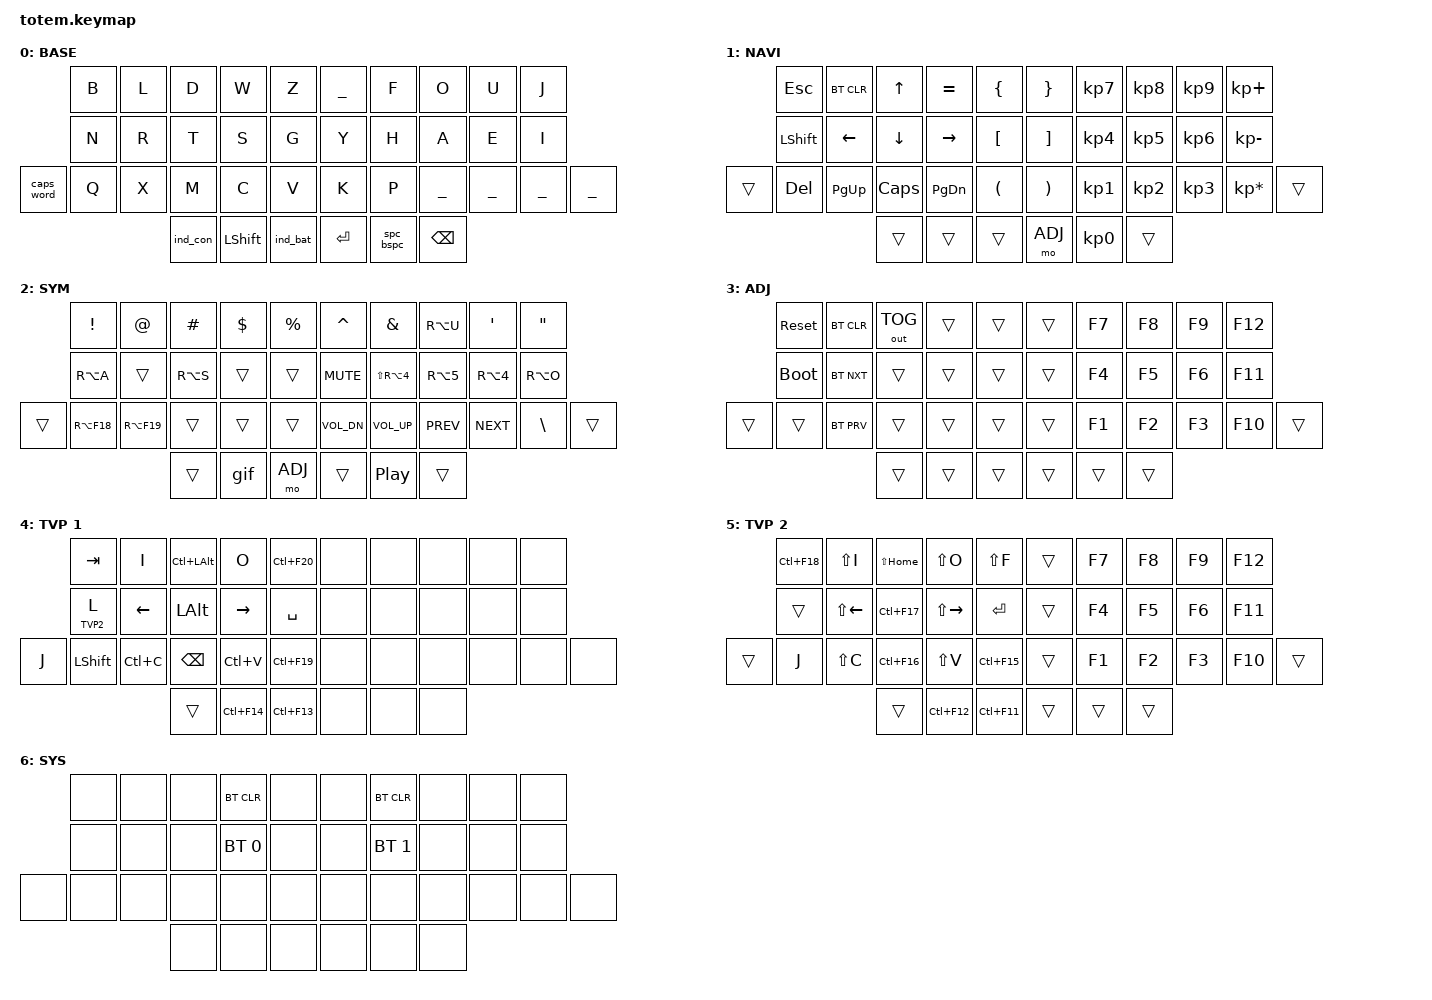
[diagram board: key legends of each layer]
//
//                                                        ▀▀▀▀▀     ▀▀▀▀▀          ▀▀█▀▀
//                                                        ▄▀▀▀▄  ▄  ▄▀▀▀▄  ▄  ▄▀▀▀▄  █  ▄▀▀▀▄
//                                                        █   █  █  █   █  █  █   █  █  █   █
//                                                         ▀▀▀   █   ▀▀▀   █   ▀▀▀   ▀   ▀▀▀
//                                                               █      ▄▄▄█▄▄▄    █   █  
//                                                               ▀      █  █  █     █▄█
//                                                             ▀▀▀▀▀    █  █  █      ▀
//                                                                      ▀  ▀  ▀
//
// ▄▄▄▄▄▄▄▄▄▄▄▄▄▄▄▄▄▄▄▄▄▄▄▄▄▄▄▄▄▄▄▄▄▄▄▄▄▄▄▄▄▄▄▄▄▄▄▄▄▄▄▄▄▄▄▄▄▄▄▄▄▄▄▄▄▄▄▄▄▄▄▄▄▄▄▄▄▄▄▄▄▄▄▄▄▄▄▄▄▄▄▄▄▄▄▄▄▄▄▄▄▄▄▄▄▄▄▄▄▄▄▄▄▄▄▄▄▄▄▄▄▄▄▄▄▄▄▄▄▄▄▄▄▄▄▄▄▄▄▄▄▄▄▄▄▄▄▄▄
       

#include <behaviors.dtsi>
#include <dt-bindings/zmk/keys.h>
#include <dt-bindings/zmk/bt.h>
#include <dt-bindings/zmk/outputs.h>
#include <behaviors/rgbled_widget.dtsi>

#define BASE 0
#define NAV  1
#define SYM  2
#define ADJ  3
#define TVP1 4
#define TVP2 5
#define SYS  6

&mt {
  quick-tap-ms = <100>;
  global-quick-tap;
  flavor = "tap-preferred";
  tapping-term-ms = <170>;
};

&sl {
  release-after-ms = <5000>;
};

/ {
     combos {
            compatible = "zmk,combos";
            combo_esc {
                timeout-ms = <50>;
                key-positions = <0 1>;
                bindings = <&kp ESC>;
            };
            combo_tvp {
                timeout-ms = <100>;
                key-positions = <11 12 13>;
                bindings = <&tog TVP1>;
            };
	    combo_system {
                timeout-ms = <200>;
                key-positions = <20 31>;
                bindings = <&sl SYS>;
	    };
    };

    behaviors {
        // Defines custom behavior: Space normally, Backspace when Shifted
        spc_bspc: space_backspace {
            compatible = "zmk,behavior-mod-morph";
            #binding-cells = <0>;
            bindings = <&kp SPACE>, <&kp BSPC>;
            mods = <(MOD_LSFT|MOD_RSFT)>;
        };
    };

    macros {
        gif: gif {
            label = "giphy";
            compatible = "zmk,behavior-macro";
            #binding-cells = <0>;
            bindings
                = <&macro_press &kp LSHFT>
                , <&macro_tap &kp N2>
                , <&macro_release &kp LSHFT>
                , <&macro_tap &kp G &kp I &kp F>
                ;
        };
    };

        keymap {
                compatible = "zmk,keymap";
// ▄▄▄▄▄▄▄▄▄▄▄▄▄▄▄▄▄▄▄▄▄▄▄▄▄▄▄▄▄▄▄▄▄▄▄▄▄▄▄▄▄▄▄▄▄▄▄▄▄▄▄▄▄▄▄▄▄▄▄▄▄▄▄▄▄▄▄▄▄▄▄▄▄▄▄▄▄▄▄▄▄▄▄▄▄▄▄▄▄▄▄▄▄▄▄▄▄▄▄▄▄▄▄▄▄▄▄▄▄▄▄▄▄▄▄▄▄▄▄▄▄▄▄▄▄▄▄▄▄▄▄▄▄▄▄▄▄▄▄▄▄▄▄▄▄▄▄▄▄

                base_layer {
// ┏━━━━━━━━━━━━━━━━━━━━━━━━━━━━━━━━━━━━━━━┓
label= "BASE"                              ;
// ┗━━━━━━━━━━━━━━━━━━━━━━━━━━━━━━━━━━━━━━━┛
//             ┏━━━━━━━━━━━┳━━━━━━━━━━━┳━━━━━━━━━━━┳━━━━━━━━━━━┳━━━━━━━━━━━┓   ┏━━━━━━━━━━━┳━━━━━━━━━━━┳━━━━━━━━━━━┳━━━━━━━━━━━┳━━━━━━━━━━━┓
//             ┃     B     ┃     L     ┃     D     ┃     W     ┃     Z     ┃   ┃     _     ┃     F     ┃     O     ┃     U     ┃     J     ┃
//             ┣━━━━━━━━━━━╋━━━━━━━━━━━╋━━━━━━━━━━━╋━━━━━━━━━━━╋━━━━━━━━━━━┫   ┣━━━━━━━━━━━╋━━━━━━━━━━━╋━━━━━━━━━━━╋━━━━━━━━━━━╋━━━━━━━━━━━┫
//             ┃     N     ┃     R     ┃     T     ┃     S     ┃     G     ┃   ┃     Y     ┃     H     ┃     A     ┃     E     ┃     I     ┃
// ┏━━━━━━━━━━━╋━━━━━━━━━━━╋━━━━━━━━━━━╋━━━━━━━━━━━╋━━━━━━━━━━━╋━━━━━━━━━━━┫   ┣━━━━━━━━━━━╋━━━━━━━━━━━╋━━━━━━━━━━━╋━━━━━━━━━━━╋━━━━━━━━━━━╋━━━━━━━━━━━┓
// ┃     _     ┃     Q     ┃     X     ┃     M     ┃     C     ┃     V     ┃   ┃     K     ┃     P     ┃     _     ┃     _     ┃     _     ┃     _     ┃
// ┗━━━━━━━━━━━┻━━━━━━━━━━━┻━━━━━━━━━━━╋━━━━━━━━━━━╋━━━━━━━━━━━╋━━━━━━━━━━━┫   ┣━━━━━━━━━━━╋━━━━━━━━━━━╋━━━━━━━━━━━╋━━━━━━━━━━━┻━━━━━━━━━━━┻━━━━━━━━━━━┛
//                                     ┃    NAV    ┃   SHIFT   ┃    TAB    ┃   ┃   ENTER   ┃    SPC    ┃   BSPC    ┃
//                                     ┗━━━━━━━━━━━┻━━━━━━━━━━━┻━━━━━━━━━━━┛   ┗━━━━━━━━━━━┻━━━━━━━━━━━┻━━━━━━━━━━━┛
 bindings = <
// ╷           ╷           ╷           ╷           ╷           ╷           ╷   ╷           ╷           ╷           ╷           ╷           ╷           ╷

                &kp B       &kp L       &kp D       &kp W       &kp Z           &kp UNDER   &kp F       &kp O       &kp U       &kp J
                &kp N       &kp R       &kp T       &kp S       &kp G           &kp Y       &kp H       &kp A       &kp E       &kp I
    &caps_word  &kp Q       &kp X       &kp M       &kp C       &kp V           &kp K       &kp P       &kp UNDER   &kp UNDER   &kp UNDER    &kp UNDER
                                        &ind_con     &kp LSHFT   &ind_bat         &kp RET     &spc_bspc   &kp BSPC
                        >;
                };

// ▄▄▄▄▄▄▄▄▄▄▄▄▄▄▄▄▄▄▄▄▄▄▄▄▄▄▄▄▄▄▄▄▄▄▄▄▄▄▄▄▄▄▄▄▄▄▄▄▄▄▄▄▄▄▄▄▄▄▄▄▄▄▄▄▄▄▄▄▄▄▄▄▄▄▄▄▄▄▄▄▄▄▄▄▄▄▄▄▄▄▄▄▄▄▄▄▄▄▄▄▄▄▄▄▄▄▄▄▄▄▄▄▄▄▄▄▄▄▄▄▄▄▄▄▄▄▄▄▄▄▄▄▄▄▄▄▄▄▄▄▄▄▄▄▄▄▄▄▄


                nav_layer {
// ┏━━━━━━━━━━━━━━━━━━━━━━━━━━━━━━━━━━━━━━━┓
label= "NAVI"                              ;
// ┗━━━━━━━━━━━━━━━━━━━━━━━━━━━━━━━━━━━━━━━┛
//             ┏━━━━━━━━━━━┳━━━━━━━━━━━┳━━━━━━━━━━━┳━━━━━━━━━━━┳━━━━━━━━━━━┓   ┏━━━━━━━━━━━┳━━━━━━━━━━━┳━━━━━━━━━━━┳━━━━━━━━━━━┳━━━━━━━━━━━┓
//             ┃           ┃           ┃     UP    ┃           ┃     {     ┃   ┃     }     ┃     7     ┃     8     ┃     9     ┃     +     ┃
//             ┣━━━━━━━━━━━╋━━━━━━━━━━━╋━━━━━━━━━━━╋━━━━━━━━━━━╋━━━━━━━━━━━┫   ┣━━━━━━━━━━━╋━━━━━━━━━━━╋━━━━━━━━━━━╋━━━━━━━━━━━╋━━━━━━━━━━━┫
//             ┃   SHIFT   ┃   LEFT    ┃    DOWN   ┃   RIGHT   ┃     [     ┃   ┃     ]     ┃     4     ┃     5     ┃     6     ┃     -     ┃
// ┏━━━━━━━━━━━╋━━━━━━━━━━━╋━━━━━━━━━━━╋━━━━━━━━━━━╋━━━━━━━━━━━╋━━━━━━━━━━━┫   ┣━━━━━━━━━━━╋━━━━━━━━━━━╋━━━━━━━━━━━╋━━━━━━━━━━━╋━━━━━━━━━━━╋━━━━━━━━━━━┓
// ┃           ┃           ┃   P UP    ┃  C LOCK   ┃  P DOWN   ┃     (     ┃   ┃     )     ┃     1     ┃     2     ┃     3     ┃     *     ┃           ┃
// ┗━━━━━━━━━━━┻━━━━━━━━━━━┻━━━━━━━━━━━╋━━━━━━━━━━━╋━━━━━━━━━━━╋━━━━━━━━━━━┫   ┣━━━━━━━━━━━╋━━━━━━━━━━━╋━━━━━━━━━━━╋━━━━━━━━━━━┻━━━━━━━━━━━┻━━━━━━━━━━━┛
//                                     ┃           ┃    TAB    ┃    SPC    ┃   ┃    DEL    ┃     0     ┃           ┃
//                                     ┗━━━━━━━━━━━┻━━━━━━━━━━━┻━━━━━━━━━━━┛   ┗━━━━━━━━━━━┻━━━━━━━━━━━┻━━━━━━━━━━━┛
 bindings = <
// ╷           ╷           ╷           ╷           ╷           ╷           ╷   ╷           ╷           ╷           ╷           ╷           ╷           ╷

                &kp ESC     &bt BT_CLR  &kp UP      &kp EQUAL   &kp LBRC        &kp RBRC    &kp KP_N7   &kp KP_N8   &kp KP_N9   &kp KP_PLUS
                &kp LSHFT   &kp LEFT    &kp DOWN    &kp RIGHT   &kp LBKT        &kp RBKT    &kp KP_N4   &kp KP_N5   &kp KP_N6   &kp KP_MINUS
    &trans      &kp DEL     &kp PG_UP   &kp CAPS    &kp PG_DN   &kp LPAR        &kp RPAR    &kp KP_N1   &kp KP_N2   &kp KP_N3   &kp KP_MULTIPLY &trans      
                                        &trans      &trans      &trans          &mo ADJ     &kp KP_N0   &trans      
                        >;
                };

// ▄▄▄▄▄▄▄▄▄▄▄▄▄▄▄▄▄▄▄▄▄▄▄▄▄▄▄▄▄▄▄▄▄▄▄▄▄▄▄▄▄▄▄▄▄▄▄▄▄▄▄▄▄▄▄▄▄▄▄▄▄▄▄▄▄▄▄▄▄▄▄▄▄▄▄▄▄▄▄▄▄▄▄▄▄▄▄▄▄▄▄▄▄▄▄▄▄▄▄▄▄▄▄▄▄▄▄▄▄▄▄▄▄▄▄▄▄▄▄▄▄▄▄▄▄▄▄▄▄▄▄▄▄▄▄▄▄▄▄▄▄▄▄▄▄▄▄▄▄


                sim_layer {
// ┏━━━━━━━━━━━━━━━━━━━━━━━━━━━━━━━━━━━━━━━┓
label= "SYM"                               ;
// ┗━━━━━━━━━━━━━━━━━━━━━━━━━━━━━━━━━━━━━━━┛
//             ┏━━━━━━━━━━━┳━━━━━━━━━━━┳━━━━━━━━━━━┳━━━━━━━━━━━┳━━━━━━━━━━━┓   ┏━━━━━━━━━━━┳━━━━━━━━━━━┳━━━━━━━━━━━┳━━━━━━━━━━━┳━━━━━━━━━━━┓
//             ┃     !     ┃     @     ┃     #     ┃     $     ┃     %     ┃   ┃     ˆ     ┃     &     ┃     Ü     ┃     '     ┃     "     ┃
//             ┣━━━━━━━━━━━╋━━━━━━━━━━━╋━━━━━━━━━━━╋━━━━━━━━━━━╋━━━━━━━━━━━┫   ┣━━━━━━━━━━━╋━━━━━━━━━━━╋━━━━━━━━━━━╋━━━━━━━━━━━╋━━━━━━━━━━━┫
//             ┃     Ä     ┃           ┃    SZ     ┃           ┃           ┃   ┃   MUTE    ┃   YEN     ┃   EURO    ┃  POUND    ┃     Ö     ┃
// ┏━━━━━━━━━━━╋━━━━━━━━━━━╋━━━━━━━━━━━╋━━━━━━━━━━━╋━━━━━━━━━━━╋━━━━━━━━━━━┫   ┣━━━━━━━━━━━╋━━━━━━━━━━━╋━━━━━━━━━━━╋━━━━━━━━━━━╋━━━━━━━━━━━╋━━━━━━━━━━━┓
// ┃           ┃  EMAIL1   ┃  EMAIL2   ┃           ┃           ┃           ┃   ┃   VOL-    ┃   VOL+    ┃   LAST    ┃   NEXT    ┃     \     ┃           ┃
// ┗━━━━━━━━━━━┻━━━━━━━━━━━┻━━━━━━━━━━━╋━━━━━━━━━━━╋━━━━━━━━━━━╋━━━━━━━━━━━┫   ┣━━━━━━━━━━━╋━━━━━━━━━━━╋━━━━━━━━━━━╋━━━━━━━━━━━┻━━━━━━━━━━━┻━━━━━━━━━━━┛
//                                     ┃           ┃    GIF    ┃    ADJ    ┃   ┃           ┃           ┃           ┃
//                                     ┗━━━━━━━━━━━┻━━━━━━━━━━━┻━━━━━━━━━━━┛   ┗━━━━━━━━━━━┻━━━━━━━━━━━┻━━━━━━━━━━━┛
 bindings = <
// ╷           ╷           ╷           ╷           ╷           ╷           ╷   ╷           ╷           ╷           ╷           ╷           ╷           ╷

                &kp EXCL    &kp AT      &kp HASH    &kp DLLR    &kp PRCNT       &kp CARET   &kp AMPS    &kp RA(U)   &kp SQT     &kp DQT       
                &kp RA(A)   &trans      &kp RA(S)   &trans      &trans          &kp C_MUTE  &kp LS(RA(N4)) &kp RA(N5) &kp RA(N4)   &kp RA(O) 
    &trans      &kp RA(F18) &kp RA(F19) &trans      &trans      &trans          &kp C_VOL_DN &kp C_VOL_UP &kp C_PREV &kp C_NEXT  &kp BSLH   &trans         
                                        &trans      &gif        &mo ADJ         &trans      &kp C_PP    &trans      
                        >;
                };

// ▄▄▄▄▄▄▄▄▄▄▄▄▄▄▄▄▄▄▄▄▄▄▄▄▄▄▄▄▄▄▄▄▄▄▄▄▄▄▄▄▄▄▄▄▄▄▄▄▄▄▄▄▄▄▄▄▄▄▄▄▄▄▄▄▄▄▄▄▄▄▄▄▄▄▄▄▄▄▄▄▄▄▄▄▄▄▄▄▄▄▄▄▄▄▄▄▄▄▄▄▄▄▄▄▄▄▄▄▄▄▄▄▄▄▄▄▄▄▄▄▄▄▄▄▄▄▄▄▄▄▄▄▄▄▄▄▄▄▄▄▄▄▄▄▄▄▄▄▄


                adjust_layer {
// ┏━━━━━━━━━━━━━━━━━━━━━━━━━━━━━━━━━━━━━━━┓
label= "ADJ"                               ;
// ┗━━━━━━━━━━━━━━━━━━━━━━━━━━━━━━━━━━━━━━━┛
//             ┏━━━━━━━━━━━┳━━━━━━━━━━━┳━━━━━━━━━━━┳━━━━━━━━━━━┳━━━━━━━━━━━┓   ┏━━━━━━━━━━━┳━━━━━━━━━━━┳━━━━━━━━━━━┳━━━━━━━━━━━┳━━━━━━━━━━━┓
//             ┃   RESET   ┃ BT CLEAR  ┃  OUT TOG  ┃           ┃           ┃   ┃           ┃    F7     ┃    F8     ┃    F9     ┃    F12    ┃
//             ┣━━━━━━━━━━━╋━━━━━━━━━━━╋━━━━━━━━━━━╋━━━━━━━━━━━╋━━━━━━━━━━━┫   ┣━━━━━━━━━━━╋━━━━━━━━━━━╋━━━━━━━━━━━╋━━━━━━━━━━━╋━━━━━━━━━━━┫
//             ┃ BOOTLOAD  ┃ BT NEXT   ┃           ┃           ┃           ┃   ┃           ┃    F4     ┃    F5     ┃    F6     ┃    F11    ┃
// ┏━━━━━━━━━━━╋━━━━━━━━━━━╋━━━━━━━━━━━╋━━━━━━━━━━━╋━━━━━━━━━━━╋━━━━━━━━━━━┫   ┣━━━━━━━━━━━╋━━━━━━━━━━━╋━━━━━━━━━━━╋━━━━━━━━━━━╋━━━━━━━━━━━╋━━━━━━━━━━━┓
// ┃           ┃           ┃ BT PREV   ┃           ┃           ┃           ┃   ┃           ┃    F1     ┃    F2     ┃    F3     ┃    F10    ┃           ┃
// ┗━━━━━━━━━━━┻━━━━━━━━━━━┻━━━━━━━━━━━╋━━━━━━━━━━━╋━━━━━━━━━━━╋━━━━━━━━━━━┫   ┣━━━━━━━━━━━╋━━━━━━━━━━━╋━━━━━━━━━━━╋━━━━━━━━━━━┻━━━━━━━━━━━┻━━━━━━━━━━━┛
//                                     ┃           ┃           ┃           ┃   ┃           ┃           ┃           ┃
//                                     ┗━━━━━━━━━━━┻━━━━━━━━━━━┻━━━━━━━━━━━┛   ┗━━━━━━━━━━━┻━━━━━━━━━━━┻━━━━━━━━━━━┛
 bindings = <
// ╷           ╷           ╷           ╷           ╷           ╷           ╷   ╷           ╷           ╷           ╷           ╷           ╷           ╷

                &sys_reset  &bt BT_CLR &out OUT_TOG &trans      &trans          &trans      &kp F7      &kp F8      &kp F9      &kp F12
                &bootloader &bt BT_NXT  &trans      &trans      &trans          &trans      &kp F4      &kp F5      &kp F6      &kp F11  
    &trans      &trans      &bt BT_PRV  &trans      &trans      &trans          &trans      &kp F1      &kp F2      &kp F3      &kp F10     &trans         
                                        &trans      &trans      &trans          &trans      &trans      &trans      
                        >;
                };

// ▄▄▄▄▄▄▄▄▄▄▄▄▄▄▄▄▄▄▄▄▄▄▄▄▄▄▄▄▄▄▄▄▄▄▄▄▄▄▄▄▄▄▄▄▄▄▄▄▄▄▄▄▄▄▄▄▄▄▄▄▄▄▄▄▄▄▄▄▄▄▄▄▄▄▄▄▄▄▄▄▄▄▄▄▄▄▄▄▄▄▄▄▄▄▄▄▄▄▄▄▄▄▄▄▄▄▄▄▄▄▄▄▄▄▄▄▄▄▄▄▄▄▄▄▄▄▄▄▄▄▄▄▄▄▄▄▄▄▄▄▄▄▄▄▄▄▄▄▄


                tvp1_layer {
// ┏━━━━━━━━━━━━━━━━━━━━━━━━━━━━━━━━━━━━━━━┓
label= "TVP 1"                             ;
// ┗━━━━━━━━━━━━━━━━━━━━━━━━━━━━━━━━━━━━━━━┛
//             ┏━━━━━━━━━━━┳━━━━━━━━━━━┳━━━━━━━━━━━┳━━━━━━━━━━━┳━━━━━━━━━━━┓   ┏━━━━━━━━━━━┳━━━━━━━━━━━┳━━━━━━━━━━━┳━━━━━━━━━━━┳━━━━━━━━━━━┓
//             ┃ NEXT FILE ┃ MARK IN   ┃ ROTATE    ┃ MARK OUT  ┃ SHOW SNAP ┃   ┃           ┃           ┃           ┃           ┃           ┃
//             ┣━━━━━━━━━━━╋━━━━━━━━━━━╋━━━━━━━━━━━╋━━━━━━━━━━━╋━━━━━━━━━━━┫   ┣━━━━━━━━━━━╋━━━━━━━━━━━╋━━━━━━━━━━━╋━━━━━━━━━━━╋━━━━━━━━━━━┫
//             ┃ TVP II    ┃ LEFT      ┃ PAN       ┃ RIGHT     ┃ PLAY/FLIP ┃   ┃           ┃           ┃           ┃           ┃           ┃
// ┏━━━━━━━━━━━╋━━━━━━━━━━━╋━━━━━━━━━━━╋━━━━━━━━━━━╋━━━━━━━━━━━╋━━━━━━━━━━━┫   ┣━━━━━━━━━━━╋━━━━━━━━━━━╋━━━━━━━━━━━╋━━━━━━━━━━━╋━━━━━━━━━━━╋━━━━━━━━━━━┓
// ┃ FULLSCR   ┃ SHIFT     ┃ COPY      ┃ DELETE    ┃ PASTE     ┃ IMG MARK  ┃   ┃           ┃           ┃           ┃           ┃           ┃           ┃
// ┗━━━━━━━━━━━┻━━━━━━━━━━━┻━━━━━━━━━━━╋━━━━━━━━━━━╋━━━━━━━━━━━╋━━━━━━━━━━━┫   ┣━━━━━━━━━━━╋━━━━━━━━━━━╋━━━━━━━━━━━╋━━━━━━━━━━━┻━━━━━━━━━━━┻━━━━━━━━━━━┛
//                                     ┃           ┃ UNDO/SAVE ┃  SEL/MOV  ┃   ┃           ┃           ┃           ┃
//                                     ┗━━━━━━━━━━━┻━━━━━━━━━━━┻━━━━━━━━━━━┛   ┗━━━━━━━━━━━┻━━━━━━━━━━━┻━━━━━━━━━━━┛
 bindings = <
// ╷           ╷           ╷           ╷           ╷           ╷           ╷   ╷           ╷           ╷           ╷           ╷           ╷           ╷

                &kp TAB     &kp I       &kp LC(LALT) &kp O      &kp LC(F20)     &none       &none       &none       &none       &none
                &lt TVP2 L  &kp LEFT    &kp LALT    &kp RIGHT   &kp SPACE       &none       &none       &none       &none       &none
    &kp J       &kp LSHFT   &kp LC(C)   &kp BSPC    &kp LC(V)   &kp LC(F19)     &none       &none       &none       &none       &none       &none        
                                        &trans      &kp LC(F14) &kp LC(F13)     &none       &none       &none    
                        >;
                };

// ▄▄▄▄▄▄▄▄▄▄▄▄▄▄▄▄▄▄▄▄▄▄▄▄▄▄▄▄▄▄▄▄▄▄▄▄▄▄▄▄▄▄▄▄▄▄▄▄▄▄▄▄▄▄▄▄▄▄▄▄▄▄▄▄▄▄▄▄▄▄▄▄▄▄▄▄▄▄▄▄▄▄▄▄▄▄▄▄▄▄▄▄▄▄▄▄▄▄▄▄▄▄▄▄▄▄▄▄▄▄▄▄▄▄▄▄▄▄▄▄▄▄▄▄▄▄▄▄▄▄▄▄▄▄▄▄▄▄▄▄▄▄▄▄▄▄▄▄▄


                tvp2_layer {
// ┏━━━━━━━━━━━━━━━━━━━━━━━━━━━━━━━━━━━━━━━┓
label= "TVP 2"                             ;
// ┗━━━━━━━━━━━━━━━━━━━━━━━━━━━━━━━━━━━━━━━┛
//             ┏━━━━━━━━━━━┳━━━━━━━━━━━┳━━━━━━━━━━━┳━━━━━━━━━━━┳━━━━━━━━━━━┓   ┏━━━━━━━━━━━┳━━━━━━━━━━━┳━━━━━━━━━━━┳━━━━━━━━━━━┳━━━━━━━━━━━┓
//             ┃ SOLO      ┃ TOGGLE IN ┃ RESET ROT ┃ TOGGLE OUT┃ TAKE SNAP ┃   ┃           ┃           ┃           ┃           ┃           ┃
//             ┣━━━━━━━━━━━╋━━━━━━━━━━━╋━━━━━━━━━━━╋━━━━━━━━━━━╋━━━━━━━━━━━┫   ┣━━━━━━━━━━━╋━━━━━━━━━━━╋━━━━━━━━━━━╋━━━━━━━━━━━╋━━━━━━━━━━━┫
//             ┃ ---       ┃ LAST KEY  ┃ NEW KEY   ┃ NEXT KEY  ┃ ENTER     ┃   ┃           ┃           ┃           ┃           ┃           ┃
// ┏━━━━━━━━━━━╋━━━━━━━━━━━╋━━━━━━━━━━━╋━━━━━━━━━━━╋━━━━━━━━━━━╋━━━━━━━━━━━┫   ┣━━━━━━━━━━━╋━━━━━━━━━━━╋━━━━━━━━━━━╋━━━━━━━━━━━╋━━━━━━━━━━━╋━━━━━━━━━━━┓
// ┃           ┃ FULLSCR   ┃ CPY2BRUSH ┃ DEL HEAD  ┃ PSTinPLACE┃ BOOK MARK ┃   ┃           ┃           ┃           ┃           ┃           ┃           ┃
// ┗━━━━━━━━━━━┻━━━━━━━━━━━┻━━━━━━━━━━━╋━━━━━━━━━━━╋━━━━━━━━━━━╋━━━━━━━━━━━┫   ┣━━━━━━━━━━━╋━━━━━━━━━━━╋━━━━━━━━━━━╋━━━━━━━━━━━┻━━━━━━━━━━━┻━━━━━━━━━━━┛
//                                     ┃           ┃ REDO/SAV1 ┃TRANS/WARP ┃   ┃           ┃           ┃           ┃
//                                     ┗━━━━━━━━━━━┻━━━━━━━━━━━┻━━━━━━━━━━━┛   ┗━━━━━━━━━━━┻━━━━━━━━━━━┻━━━━━━━━━━━┛
 bindings = <
// ╷           ╷           ╷           ╷           ╷           ╷           ╷   ╷           ╷           ╷           ╷           ╷           ╷           ╷

                &kp LC(F18) &kp LS(I)  &kp LS(HOME) &kp LS(O)   &kp LS(F)       &trans      &kp F7      &kp F8      &kp F9      &kp F12
                &trans      &kp LS(LEFT) &kp LC(F17) &kp LS(RIGHT) &kp RET      &trans      &kp F4      &kp F5      &kp F6      &kp F11  
    &trans      &kp J       &kp LS(C)   &kp LC(F16) &kp LS(V)   &kp LC(F15)     &trans      &kp F1      &kp F2      &kp F3      &kp F10     &trans         
                                        &trans      &kp LC(F12) &kp LC(F11)     &trans      &trans      &trans      
                        >;
                };

                system_layer {
// ┏━━━━━━━━━━━━━━━━━━━━━━━━━━━━━━━━━━━━━━━┓
label= "SYS"                               ;
// ┗━━━━━━━━━━━━━━━━━━━━━━━━━━━━━━━━━━━━━━━┛
//             ┏━━━━━━━━━━━┳━━━━━━━━━━━┳━━━━━━━━━━━┳━━━━━━━━━━━┳━━━━━━━━━━━┓   ┏━━━━━━━━━━━┳━━━━━━━━━━━┳━━━━━━━━━━━┳━━━━━━━━━━━┳━━━━━━━━━━━┓
//             ┃           ┃           ┃           ┃ BT_CLR    ┃           ┃   ┃           ┃ BT_CLR    ┃           ┃           ┃           ┃
//             ┣━━━━━━━━━━━╋━━━━━━━━━━━╋━━━━━━━━━━━╋━━━━━━━━━━━╋━━━━━━━━━━━┫   ┣━━━━━━━━━━━╋━━━━━━━━━━━╋━━━━━━━━━━━╋━━━━━━━━━━━╋━━━━━━━━━━━┫
//             ┃           ┃           ┃           ┃ BT_SEL 0  ┃           ┃   ┃           ┃ BT_SEL 1  ┃           ┃           ┃           ┃
// ┏━━━━━━━━━━━╋━━━━━━━━━━━╋━━━━━━━━━━━╋━━━━━━━━━━━╋━━━━━━━━━━━╋━━━━━━━━━━━┫   ┣━━━━━━━━━━━╋━━━━━━━━━━━╋━━━━━━━━━━━╋━━━━━━━━━━━╋━━━━━━━━━━━╋━━━━━━━━━━━┓
// ┃           ┃           ┃           ┃           ┃           ┃           ┃   ┃           ┃           ┃           ┃           ┃           ┃           ┃
// ┗━━━━━━━━━━━┻━━━━━━━━━━━┻━━━━━━━━━━━╋━━━━━━━━━━━╋━━━━━━━━━━━╋━━━━━━━━━━━┫   ┣━━━━━━━━━━━╋━━━━━━━━━━━╋━━━━━━━━━━━╋━━━━━━━━━━━┻━━━━━━━━━━━┻━━━━━━━━━━━┛
//                                     ┃           ┃           ┃           ┃   ┃           ┃           ┃           ┃
//                                     ┗━━━━━━━━━━━┻━━━━━━━━━━━┻━━━━━━━━━━━┛   ┗━━━━━━━━━━━┻━━━━━━━━━━━┻━━━━━━━━━━━┛
 bindings = <
// ╷           ╷           ╷           ╷           ╷           ╷           ╷   ╷           ╷           ╷           ╷           ╷           ╷           ╷

                &none       &none       &none       &bt BT_CLR  &none           &none       &bt BT_CLR  &none       &none       &none
                &none       &none       &none       &bt BT_SEL 0 &none          &none       &bt BT_SEL 1 &none       &none       &none
    &none       &none       &none       &none       &none       &none           &none       &none       &none       &none       &none       &none
                                        &none       &none       &none           &none       &none       &none
                        >;
                };
        };
};
